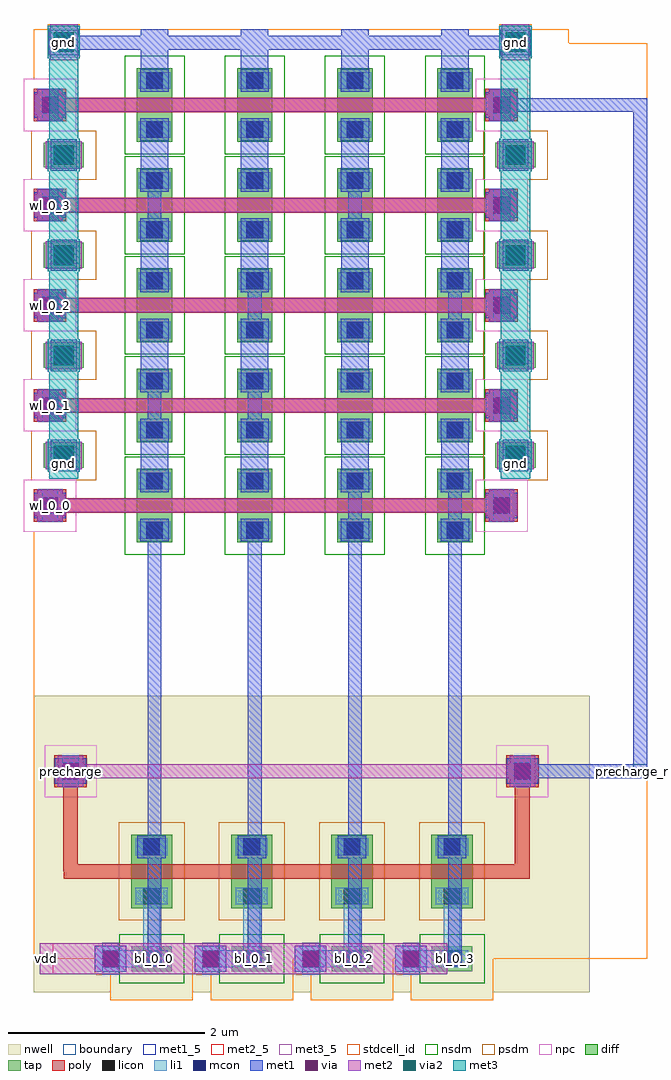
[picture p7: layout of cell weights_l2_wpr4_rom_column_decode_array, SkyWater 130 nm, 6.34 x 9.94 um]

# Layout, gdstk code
from math import pi, radians
import gdstk
lib = gdstk.Library(unit=1e-6, precision=1e-09)
def R(c, l, rs):  # rectangles x0, y0, x1, y1
    for r in rs: c.add(gdstk.rectangle(r[:2], r[2:], *l))
def A(c, l, x, y, w, h, nx, ny, dx, dy):  # array of equal rectangles
    R(c, l, [(x+i*dx, y+j*dy, x+i*dx+w, y+j*dy+h) for i in range(nx) for j in range(ny)])
nwell = (64, 20)
diff = (65, 20)
tap = (65, 44)
poly = (66, 20)
licon = (66, 44)
li1 = (67, 20)
mcon = (67, 44)
met1_5 = (68, 5)
met1 = (68, 20)
via = (68, 44)
met2_5 = (69, 5)
met2 = (69, 20)
via2 = (69, 44)
met3_5 = (70, 5)
met3 = (70, 20)
stdcell_id = (81, 4)
nsdm = (93, 44)
psdm = (94, 20)
npc = (95, 20)
boundary = (235, 4)

weights_l2_wpr4_contact_ = lib.new_cell('weights_l2_wpr4_contact_11')
R(weights_l2_wpr4_contact_, poly, [(0,0,0.33,0.33)])
R(weights_l2_wpr4_contact_, licon, [(0.08,0.08,0.25,0.25)])
R(weights_l2_wpr4_contact_, li1, [(0.08,0,0.25,0.33)])
R(weights_l2_wpr4_contact_, stdcell_id, [(-0.1,-0.1,0.43,0.43)])
R(weights_l2_wpr4_contact_, npc, [(-0.1,-0.1,0.43,0.43)])
R(weights_l2_wpr4_contact_, boundary, [(-0.1,-0.1,0.43,0.43)])

c_weights_l2_wpr4_contact_ = lib.new_cell('weights_l2_wpr4_contact_12')
R(c_weights_l2_wpr4_contact_, li1, [(0.06,0,0.23,0.33)])
R(c_weights_l2_wpr4_contact_, mcon, [(0.06,0.08,0.23,0.25)])
R(c_weights_l2_wpr4_contact_, met1, [(0,0.05,0.29,0.28)])
R(c_weights_l2_wpr4_contact_, stdcell_id, [(0,0,0.29,0.33)])
R(c_weights_l2_wpr4_contact_, boundary, [(0,0,0.29,0.33)])

c_weights_l2_wpr4_contact__ = lib.new_cell('weights_l2_wpr4_contact_13')
R(c_weights_l2_wpr4_contact__, met1, [(0,0.03,0.32,0.29)])
R(c_weights_l2_wpr4_contact__, via, [(0.085,0.085,0.235,0.235)])
R(c_weights_l2_wpr4_contact__, met2, [(0.03,0,0.29,0.32)])
R(c_weights_l2_wpr4_contact__, stdcell_id, [(0,0,0.32,0.32)])
R(c_weights_l2_wpr4_contact__, boundary, [(0,0,0.32,0.32)])

c_weights_l2_wpr4_contact___ = lib.new_cell('weights_l2_wpr4_contact_16')
R(c_weights_l2_wpr4_contact___, tap, [(0,0,0.41,0.25)])
R(c_weights_l2_wpr4_contact___, licon, [(0.12,0.04,0.29,0.21)])
R(c_weights_l2_wpr4_contact___, li1, [(0.04,0.04,0.37,0.21)])
R(c_weights_l2_wpr4_contact___, stdcell_id, [(-0.125,-0.125,0.535,0.375)])
R(c_weights_l2_wpr4_contact___, psdm, [(-0.125,-0.125,0.535,0.375)])
R(c_weights_l2_wpr4_contact___, boundary, [(-0.125,-0.125,0.535,0.375)])

weights_l2_wpr4_rom_poly = lib.new_cell('weights_l2_wpr4_rom_poly_tap_1')
R(weights_l2_wpr4_rom_poly, li1, [(0.22,0.675,0.39,0.845)])
R(weights_l2_wpr4_rom_poly, met1, [(0.005,0.12,0.325,0.38)])
R(weights_l2_wpr4_rom_poly, met2_5, [(0.095,0.18,0.235,0.32)])
R(weights_l2_wpr4_rom_poly, met2, [(0.095,0.18,0.235,0.32)])
R(weights_l2_wpr4_rom_poly, stdcell_id, [(0,0,0.85,1.02)])
R(weights_l2_wpr4_rom_poly, boundary, [(0,0,0.85,1.02)])
weights_l2_wpr4_rom_poly.add(gdstk.Reference(weights_l2_wpr4_contact_, (0,0.085)))
weights_l2_wpr4_rom_poly.add(gdstk.Reference(c_weights_l2_wpr4_contact_, (0.02,0.085)))
weights_l2_wpr4_rom_poly.add(gdstk.Reference(c_weights_l2_wpr4_contact__, (0.005,0.09)))
weights_l2_wpr4_rom_poly.add(gdstk.Reference(c_weights_l2_wpr4_contact___, (0.1,0.635)))
weights_l2_wpr4_rom_poly.add(gdstk.Label('poly_tap', (0.165,0.25), layer=69, texttype=5))
weights_l2_wpr4_rom_poly.add(gdstk.Label('active_tap', (0.305,0.76), layer=67, texttype=5))

c_weights_l2_wpr4_contact____ = lib.new_cell('weights_l2_wpr4_contact_8')
R(c_weights_l2_wpr4_contact____, diff, [(0,0.02,0.25,0.31)])
R(c_weights_l2_wpr4_contact____, licon, [(0.04,0.08,0.21,0.25)])
R(c_weights_l2_wpr4_contact____, li1, [(0.04,0,0.21,0.33)])
R(c_weights_l2_wpr4_contact____, stdcell_id, [(-0.125,-0.105,0.375,0.435)])
R(c_weights_l2_wpr4_contact____, nsdm, [(-0.125,-0.105,0.375,0.435)])
R(c_weights_l2_wpr4_contact____, boundary, [(-0.125,-0.105,0.375,0.435)])

c_weights_l2_wpr4_contact_____ = lib.new_cell('weights_l2_wpr4_contact_9')
R(c_weights_l2_wpr4_contact_____, li1, [(0.03,0,0.2,0.33)])
R(c_weights_l2_wpr4_contact_____, mcon, [(0.03,0.08,0.2,0.25)])
R(c_weights_l2_wpr4_contact_____, met1, [(0,0.02,0.23,0.31)])
R(c_weights_l2_wpr4_contact_____, stdcell_id, [(-0.095,-0.125,0.325,0.455)])
R(c_weights_l2_wpr4_contact_____, nsdm, [(-0.095,-0.125,0.325,0.455)])
R(c_weights_l2_wpr4_contact_____, boundary, [(-0.095,-0.125,0.325,0.455)])

weights_l2_wpr4_nmos_m1_ = lib.new_cell('weights_l2_wpr4_nmos_m1_w0_360_sm1_dm1')
R(weights_l2_wpr4_nmos_m1_, diff, [(0,0,0.75,0.36)])
R(weights_l2_wpr4_nmos_m1_, poly, [(0.3,-0.13,0.45,0.49), (0.3,-0.13,0.45,0.49)])
R(weights_l2_wpr4_nmos_m1_, met1_5, [(0.01,0.035,0.24,0.325), (0.51,0.035,0.74,0.325)])
R(weights_l2_wpr4_nmos_m1_, met1, [(0.01,0.035,0.24,0.325), (0.51,0.035,0.74,0.325)])
R(weights_l2_wpr4_nmos_m1_, stdcell_id, [(-0.125,-0.13,0.875,0.49)])
R(weights_l2_wpr4_nmos_m1_, nsdm, [(-0.125,-0.125,0.875,0.485)])
R(weights_l2_wpr4_nmos_m1_, boundary, [(-0.125,-0.13,0.875,0.49)])
weights_l2_wpr4_nmos_m1_.add(gdstk.Reference(c_weights_l2_wpr4_contact____, (0,0.015)))
weights_l2_wpr4_nmos_m1_.add(gdstk.Reference(c_weights_l2_wpr4_contact_____, (0.01,0.015)))
weights_l2_wpr4_nmos_m1_.add(gdstk.Reference(c_weights_l2_wpr4_contact____, (0.5,0.015)))
weights_l2_wpr4_nmos_m1_.add(gdstk.Reference(c_weights_l2_wpr4_contact_____, (0.51,0.015)))
weights_l2_wpr4_nmos_m1_.add(gdstk.Label('G', (0.375,0.18), layer=66, texttype=5))
weights_l2_wpr4_nmos_m1_.add(gdstk.Label('S', (0.125,0.18), layer=68, texttype=5))
weights_l2_wpr4_nmos_m1_.add(gdstk.Label('D', (0.625,0.18), layer=68, texttype=5))

weights_l2_wpr4_rom_base = lib.new_cell('weights_l2_wpr4_rom_base_one_cell')
R(weights_l2_wpr4_rom_base, poly, [(0,0.175,0.4,0.325), (0.4,0.175,1.02,0.325)])
R(weights_l2_wpr4_rom_base, met1_5, [(0.565,-0.115,0.855,0.115), (0.565,0.385,0.855,0.615)])
R(weights_l2_wpr4_rom_base, met1, [(0.565,-0.115,0.855,0.115), (0.565,0.385,0.855,0.615), (0.57,0.5,0.85,1.02)])
R(weights_l2_wpr4_rom_base, stdcell_id, [(0,0,1.02,1.02)])
R(weights_l2_wpr4_rom_base, boundary, [(0,0,1.02,1.02)])
weights_l2_wpr4_rom_base.add(gdstk.Reference(weights_l2_wpr4_nmos_m1_, (0.89,-0.125), rotation=pi/2))
weights_l2_wpr4_rom_base.add(gdstk.Label('S', (0.71,0), layer=68, texttype=5))
weights_l2_wpr4_rom_base.add(gdstk.Label('D', (0.71,0.5), layer=68, texttype=5))
weights_l2_wpr4_rom_base.add(gdstk.Label('G', (0.71,0.25), layer=66, texttype=5))

c_weights_l2_wpr4_rom_base = lib.new_cell('weights_l2_wpr4_rom_base_zero_cell')
R(c_weights_l2_wpr4_rom_base, poly, [(0,0.175,0.4,0.325), (0.4,0.175,1.02,0.325)])
R(c_weights_l2_wpr4_rom_base, met1_5, [(0.565,-0.115,0.855,0.115), (0.565,0.385,0.855,0.615)])
R(c_weights_l2_wpr4_rom_base, met1, [(0.565,-0.115,0.855,0.115), (0.64,0,0.78,0.5), (0.565,0.385,0.855,0.615), (0.57,0.5,0.85,1.02)])
R(c_weights_l2_wpr4_rom_base, stdcell_id, [(0,0,1.02,1.02)])
R(c_weights_l2_wpr4_rom_base, boundary, [(0,0,1.02,1.02)])
c_weights_l2_wpr4_rom_base.add(gdstk.Reference(weights_l2_wpr4_nmos_m1_, (0.89,-0.125), rotation=pi/2))
c_weights_l2_wpr4_rom_base.add(gdstk.Label('S', (0.71,0), layer=68, texttype=5))
c_weights_l2_wpr4_rom_base.add(gdstk.Label('D', (0.71,0.5), layer=68, texttype=5))
c_weights_l2_wpr4_rom_base.add(gdstk.Label('G', (0.71,0.25), layer=66, texttype=5))

c_weights_l2_wpr4_rom_poly = lib.new_cell('weights_l2_wpr4_rom_poly_tap_2')
R(c_weights_l2_wpr4_rom_poly, met1, [(0.005,0.12,0.325,0.38)])
R(c_weights_l2_wpr4_rom_poly, met2_5, [(0.095,0.18,0.235,0.32)])
R(c_weights_l2_wpr4_rom_poly, met2, [(0.095,0.18,0.235,0.32)])
R(c_weights_l2_wpr4_rom_poly, stdcell_id, [(0,0,0.85,1.02)])
R(c_weights_l2_wpr4_rom_poly, boundary, [(0,0,0.85,1.02)])
c_weights_l2_wpr4_rom_poly.add(gdstk.Reference(weights_l2_wpr4_contact_, (0,0.085)))
c_weights_l2_wpr4_rom_poly.add(gdstk.Reference(c_weights_l2_wpr4_contact_, (0.02,0.085)))
c_weights_l2_wpr4_rom_poly.add(gdstk.Reference(c_weights_l2_wpr4_contact__, (0.005,0.09)))
c_weights_l2_wpr4_rom_poly.add(gdstk.Label('poly_tap', (0.165,0.25), layer=69, texttype=5))

c_weights_l2_wpr4_rom_poly_ = lib.new_cell('weights_l2_wpr4_rom_poly_tap_3')
R(c_weights_l2_wpr4_rom_poly_, met1, [(0.005,0.12,0.325,0.38)])
R(c_weights_l2_wpr4_rom_poly_, met2_5, [(0.095,0.18,0.235,0.32)])
R(c_weights_l2_wpr4_rom_poly_, met2, [(0.095,0.18,0.235,0.32)])
R(c_weights_l2_wpr4_rom_poly_, stdcell_id, [(0,0,0.85,1.02)])
R(c_weights_l2_wpr4_rom_poly_, boundary, [(0,0,0.85,1.02)])
c_weights_l2_wpr4_rom_poly_.add(gdstk.Reference(weights_l2_wpr4_contact_, (0,0.085)))
c_weights_l2_wpr4_rom_poly_.add(gdstk.Reference(c_weights_l2_wpr4_contact_, (0.02,0.085)))
c_weights_l2_wpr4_rom_poly_.add(gdstk.Reference(c_weights_l2_wpr4_contact__, (0.005,0.09)))
c_weights_l2_wpr4_rom_poly_.add(gdstk.Label('poly_tap', (0.165,0.25), layer=69, texttype=5))

c_weights_l2_wpr4_contact______ = lib.new_cell('weights_l2_wpr4_contact_10')
R(c_weights_l2_wpr4_contact______, nwell, [(-0.295,-0.255,0.545,0.585)])
R(c_weights_l2_wpr4_contact______, diff, [(0,0.02,0.25,0.31)])
R(c_weights_l2_wpr4_contact______, licon, [(0.04,0.08,0.21,0.25)])
R(c_weights_l2_wpr4_contact______, li1, [(0.04,0,0.21,0.33)])
R(c_weights_l2_wpr4_contact______, stdcell_id, [(-0.295,-0.255,0.545,0.585)])
R(c_weights_l2_wpr4_contact______, psdm, [(-0.125,-0.105,0.375,0.435)])
R(c_weights_l2_wpr4_contact______, boundary, [(-0.295,-0.255,0.545,0.585)])

c_weights_l2_wpr4_contact_______ = lib.new_cell('weights_l2_wpr4_contact_14')
R(c_weights_l2_wpr4_contact_______, nwell, [(-0.305,-0.255,0.535,0.585)])
R(c_weights_l2_wpr4_contact_______, li1, [(0.03,0,0.2,0.33)])
R(c_weights_l2_wpr4_contact_______, mcon, [(0.03,0.08,0.2,0.25)])
R(c_weights_l2_wpr4_contact_______, met1, [(0,0.02,0.23,0.31)])
R(c_weights_l2_wpr4_contact_______, stdcell_id, [(-0.305,-0.255,0.535,0.585)])
R(c_weights_l2_wpr4_contact_______, psdm, [(-0.095,-0.125,0.325,0.455)])
R(c_weights_l2_wpr4_contact_______, boundary, [(-0.305,-0.255,0.535,0.585)])

weights_l2_wpr4_pmos_m1_ = lib.new_cell('weights_l2_wpr4_pmos_m1_w0_420_sli_dm1')
R(weights_l2_wpr4_pmos_m1_, nwell, [(-0.27,-0.27,1.02,0.69)])
R(weights_l2_wpr4_pmos_m1_, diff, [(0,0,0.75,0.42)])
R(weights_l2_wpr4_pmos_m1_, poly, [(0.3,-0.13,0.45,0.55), (0.3,-0.13,0.45,0.55)])
R(weights_l2_wpr4_pmos_m1_, li1, [(0.04,0.045,0.21,0.375)])
R(weights_l2_wpr4_pmos_m1_, met1_5, [(0.51,0.065,0.74,0.355)])
R(weights_l2_wpr4_pmos_m1_, met1, [(0.51,0.065,0.74,0.355)])
R(weights_l2_wpr4_pmos_m1_, stdcell_id, [(-0.27,-0.27,1.02,0.69)])
R(weights_l2_wpr4_pmos_m1_, psdm, [(-0.125,-0.125,0.875,0.545)])
R(weights_l2_wpr4_pmos_m1_, boundary, [(-0.27,-0.27,1.02,0.69)])
weights_l2_wpr4_pmos_m1_.add(gdstk.Reference(c_weights_l2_wpr4_contact______, (0,0.045)))
weights_l2_wpr4_pmos_m1_.add(gdstk.Reference(c_weights_l2_wpr4_contact______, (0.5,0.045)))
weights_l2_wpr4_pmos_m1_.add(gdstk.Reference(c_weights_l2_wpr4_contact_______, (0.51,0.045)))
weights_l2_wpr4_pmos_m1_.add(gdstk.Label('G', (0.375,0.21), layer=66, texttype=5))
weights_l2_wpr4_pmos_m1_.add(gdstk.Label('S', (0.125,0.21), layer=67, texttype=5))
weights_l2_wpr4_pmos_m1_.add(gdstk.Label('D', (0.625,0.21), layer=68, texttype=5))

c_weights_l2_wpr4_contact________ = lib.new_cell('weights_l2_wpr4_contact_15')
R(c_weights_l2_wpr4_contact________, nwell, [(-0.215,-0.295,0.625,0.545)])
R(c_weights_l2_wpr4_contact________, tap, [(0,0,0.41,0.25)])
R(c_weights_l2_wpr4_contact________, licon, [(0.12,0.04,0.29,0.21)])
R(c_weights_l2_wpr4_contact________, li1, [(0.04,0.04,0.37,0.21)])
R(c_weights_l2_wpr4_contact________, stdcell_id, [(-0.215,-0.295,0.625,0.545)])
R(c_weights_l2_wpr4_contact________, nsdm, [(-0.125,-0.125,0.535,0.375)])
R(c_weights_l2_wpr4_contact________, boundary, [(-0.215,-0.295,0.625,0.545)])

weights_l2_wpr4_precharg = lib.new_cell('weights_l2_wpr4_precharge_cell')
R(weights_l2_wpr4_precharg, nwell, [(0,-0.945,1.02,0.68)])
R(weights_l2_wpr4_precharg, poly, [(0,0.175,0.34,0.325), (0.34,0.175,1.02,0.325)])
R(weights_l2_wpr4_precharg, li1, [(0.175,-0.725,0.345,-0.555), (0.26,-0.725,0.68,-0.555), (0.595,-0.725,0.765,-0.555), (0.595,-0.725,0.765,-0.555), (0.595,-0.64,0.765,0)])
R(weights_l2_wpr4_precharg, met1_5, [(0.535,0.385,0.825,0.615)])
R(weights_l2_wpr4_precharg, met1, [(0.535,0.385,0.825,0.615)])
R(weights_l2_wpr4_precharg, stdcell_id, [(0,0,1.02,1.02)])
R(weights_l2_wpr4_precharg, boundary, [(0,0,1.02,1.02)])
weights_l2_wpr4_precharg.add(gdstk.Reference(weights_l2_wpr4_pmos_m1_, (0.89,-0.125), rotation=pi/2))
weights_l2_wpr4_precharg.add(gdstk.Reference(c_weights_l2_wpr4_contact________, (0.475,-0.765)))
weights_l2_wpr4_precharg.add(gdstk.Label('D', (0.68,0.5), layer=68, texttype=5))
weights_l2_wpr4_precharg.add(gdstk.Label('G', (0.68,0.25), layer=66, texttype=5))
weights_l2_wpr4_precharg.add(gdstk.Label('vdd', (0.26,-0.64), layer=67, texttype=5))

weights_l2_wpr4_rom_prec = lib.new_cell('weights_l2_wpr4_rom_precharge_array_1')
R(weights_l2_wpr4_rom_prec, nwell, [(0,-0.98,5.66,2.04)])
R(weights_l2_wpr4_rom_prec, poly, [(0.305,0.175,5.045,0.325), (4.255,0.175,5.05,0.325), (4.26,0.175,5.05,0.325), (0.3,0.25,0.45,1.2), (4.9,0.25,5.05,1.2)])
A(weights_l2_wpr4_rom_prec, met1_5, 1.13, 0.43, 0.14, 0.14, 4, 1, 1.02, 0)
A(weights_l2_wpr4_rom_prec, met1, 0.62, -0.77, 0.32, 0.26, 4, 1, 1.02, 0)
A(weights_l2_wpr4_rom_prec, met1, 1.13, 0.43, 0.14, 0.14, 4, 1, 1.02, 0)
R(weights_l2_wpr4_rom_prec, met2_5, [(0.06,-0.8,0.2,-0.48), (0.305,1.2,0.445,1.34), (4.905,1.2,5.045,1.34)])
R(weights_l2_wpr4_rom_prec, met2, [(0.06,-0.8,0.2,-0.48), (0.13,-0.8,4.21,-0.48), (0.305,1.2,0.445,1.34), (0.305,1.2,0.445,1.34), (0.305,1.2,5.045,1.34), (4.905,1.2,5.045,1.34), (4.905,1.2,5.045,1.34)])
R(weights_l2_wpr4_rom_prec, stdcell_id, [(0,0,5.66,2.04)])
R(weights_l2_wpr4_rom_prec, boundary, [(0,0,5.66,2.04)])
weights_l2_wpr4_rom_prec.add(gdstk.Reference(c_weights_l2_wpr4_rom_poly_, (0.21,1.02)))
weights_l2_wpr4_rom_prec.add(gdstk.Reference(c_weights_l2_wpr4_rom_poly_, (4.81,1.02)))
weights_l2_wpr4_rom_prec.add(gdstk.Reference(weights_l2_wpr4_precharg, (0.52,0)))
weights_l2_wpr4_rom_prec.add(gdstk.Reference(weights_l2_wpr4_precharg, (1.54,0)))
weights_l2_wpr4_rom_prec.add(gdstk.Reference(weights_l2_wpr4_precharg, (2.56,0)))
weights_l2_wpr4_rom_prec.add(gdstk.Reference(weights_l2_wpr4_precharg, (3.58,0)))
weights_l2_wpr4_rom_prec.add(gdstk.Reference(c_weights_l2_wpr4_contact_, (0.635,-0.805)))
weights_l2_wpr4_rom_prec.add(gdstk.Reference(c_weights_l2_wpr4_contact__, (0.62,-0.8)))
weights_l2_wpr4_rom_prec.add(gdstk.Reference(c_weights_l2_wpr4_contact_, (1.655,-0.805)))
weights_l2_wpr4_rom_prec.add(gdstk.Reference(c_weights_l2_wpr4_contact__, (1.64,-0.8)))
weights_l2_wpr4_rom_prec.add(gdstk.Reference(c_weights_l2_wpr4_contact_, (2.675,-0.805)))
weights_l2_wpr4_rom_prec.add(gdstk.Reference(c_weights_l2_wpr4_contact__, (2.66,-0.8)))
weights_l2_wpr4_rom_prec.add(gdstk.Reference(c_weights_l2_wpr4_contact_, (3.695,-0.805)))
weights_l2_wpr4_rom_prec.add(gdstk.Reference(c_weights_l2_wpr4_contact__, (3.68,-0.8)))
weights_l2_wpr4_rom_prec.add(gdstk.Label('upper right', (5.66,2.04), layer=64, texttype=20))
weights_l2_wpr4_rom_prec.add(gdstk.Label('gate', (0.375,1.27), layer=69, texttype=5))
weights_l2_wpr4_rom_prec.add(gdstk.Label('precharge_r', (4.975,1.27), layer=69, texttype=5))
weights_l2_wpr4_rom_prec.add(gdstk.Label('pre_bl0_out', (1.2,0.5), layer=68, texttype=5))
weights_l2_wpr4_rom_prec.add(gdstk.Label('pre_bl1_out', (2.22,0.5), layer=68, texttype=5))
weights_l2_wpr4_rom_prec.add(gdstk.Label('pre_bl2_out', (3.24,0.5), layer=68, texttype=5))
weights_l2_wpr4_rom_prec.add(gdstk.Label('pre_bl3_out', (4.26,0.5), layer=68, texttype=5))
weights_l2_wpr4_rom_prec.add(gdstk.Label('vdd', (0.13,-0.64), layer=69, texttype=5))

c_weights_l2_wpr4_contact_________ = lib.new_cell('weights_l2_wpr4_contact_17')
R(c_weights_l2_wpr4_contact_________, li1, [(0,0.06,0.33,0.23)])
R(c_weights_l2_wpr4_contact_________, mcon, [(0.08,0.06,0.25,0.23)])
R(c_weights_l2_wpr4_contact_________, met1, [(0.05,0,0.28,0.29)])
R(c_weights_l2_wpr4_contact_________, stdcell_id, [(0,0,0.33,0.29)])
R(c_weights_l2_wpr4_contact_________, boundary, [(0,0,0.33,0.29)])

c_weights_l2_wpr4_contact__________ = lib.new_cell('weights_l2_wpr4_contact_18')
R(c_weights_l2_wpr4_contact__________, met1, [(0.03,0,0.29,0.32)])
R(c_weights_l2_wpr4_contact__________, via, [(0.085,0.085,0.235,0.235)])
R(c_weights_l2_wpr4_contact__________, met2, [(0,0.03,0.32,0.29)])
R(c_weights_l2_wpr4_contact__________, stdcell_id, [(0,0,0.32,0.32)])
R(c_weights_l2_wpr4_contact__________, boundary, [(0,0,0.32,0.32)])

c_weights_l2_wpr4_contact___________ = lib.new_cell('weights_l2_wpr4_contact_21')
R(c_weights_l2_wpr4_contact___________, met2, [(0,0.025,0.37,0.305)])
R(c_weights_l2_wpr4_contact___________, via2, [(0.085,0.065,0.285,0.265)])
R(c_weights_l2_wpr4_contact___________, met3, [(0.02,0,0.35,0.33)])
R(c_weights_l2_wpr4_contact___________, stdcell_id, [(0,0,0.37,0.33)])
R(c_weights_l2_wpr4_contact___________, boundary, [(0,0,0.37,0.33)])

c_weights_l2_wpr4_contact____________ = lib.new_cell('weights_l2_wpr4_contact_22')
R(c_weights_l2_wpr4_contact____________, met2, [(0.025,0,0.305,0.37)])
R(c_weights_l2_wpr4_contact____________, via2, [(0.065,0.085,0.265,0.285)])
R(c_weights_l2_wpr4_contact____________, met3, [(0,0.02,0.33,0.35)])
R(c_weights_l2_wpr4_contact____________, stdcell_id, [(0,0,0.33,0.37)])
R(c_weights_l2_wpr4_contact____________, boundary, [(0,0,0.33,0.37)])

weights_l2_wpr4_rom_colu = lib.new_cell('weights_l2_wpr4_rom_column_decode_array')
A(weights_l2_wpr4_rom_colu, poly, 0.095, 4.54, 4.74, 0.15, 1, 5, 0, 1.02)
A(weights_l2_wpr4_rom_colu, met1_5, 1.16, -0.07, 0.14, 0.14, 4, 1, 1.02, 0)
R(weights_l2_wpr4_rom_colu, met1_5, [(6.105,1.84,6.245,1.98)])
A(weights_l2_wpr4_rom_colu, met1, 1.16, -0.07, 0.14, 0.14, 4, 1, 1.02, 0)
A(weights_l2_wpr4_rom_colu, met1, 1.16, 0.005, 0.14, 2.75, 4, 1, 1.02, 0)
A(weights_l2_wpr4_rom_colu, met1, 1.16, 1.14, 0.14, 3.225, 4, 1, 1.02, 0)
A(weights_l2_wpr4_rom_colu, met1, 0.04, 4.45, 0.255, 0.33, 1, 5, 0, 1.02)
A(weights_l2_wpr4_rom_colu, met1, 4.64, 4.45, 0.255, 0.33, 1, 5, 0, 1.02)
A(weights_l2_wpr4_rom_colu, met1, 0.175, 4.965, 0.26, 0.32, 1, 4, 0, 1.02)
A(weights_l2_wpr4_rom_colu, met1, 4.775, 4.965, 0.26, 0.32, 1, 4, 0, 1.02)
R(weights_l2_wpr4_rom_colu, met1, [(4.975,1.84,6.175,1.98), (6.105,1.84,6.245,1.98), (6.105,1.84,6.245,1.98), (6.105,1.91,6.245,8.695), (4.765,8.625,5.965,8.765), (5.965,8.625,6.175,8.765), (6.105,8.625,6.245,8.765), (0.305,9.26,1.16,9.4), (1.09,9.26,4.43,9.4), (4.36,9.26,4.905,9.4)])
A(weights_l2_wpr4_rom_colu, met2_5, 0.095, 4.545, 0.14, 0.14, 1, 4, 0, 1.02)
R(weights_l2_wpr4_rom_colu, met2_5, [(0.06,-0.16,0.2,0.16), (0.305,1.84,0.445,1.98)])
A(weights_l2_wpr4_rom_colu, met2, 0.005, 4.51, 0.32, 0.215, 1, 5, 0, 1.02)
A(weights_l2_wpr4_rom_colu, met2, 4.605, 4.51, 0.32, 0.215, 1, 5, 0, 1.02)
A(weights_l2_wpr4_rom_colu, met2, 0.095, 4.545, 4.74, 0.14, 1, 5, 0, 1.02)
A(weights_l2_wpr4_rom_colu, met2, 4.695, 4.545, 0.14, 0.14, 1, 5, 0, 1.02)
A(weights_l2_wpr4_rom_colu, met2, 0.12, 5.03, 0.37, 0.185, 1, 4, 0, 1.02)
A(weights_l2_wpr4_rom_colu, met2, 4.72, 5.03, 0.37, 0.185, 1, 4, 0, 1.02)
R(weights_l2_wpr4_rom_colu, met2, [(0.06,-0.16,0.2,0.16), (0.305,1.84,0.445,1.98), (0.095,4.545,0.235,4.685), (0.095,4.545,0.235,4.685), (0.095,5.565,0.235,5.705), (0.095,5.565,0.235,5.705), (0.095,6.585,0.235,6.725), (0.095,6.585,0.235,6.725), (0.095,7.605,0.235,7.745), (0.095,7.605,0.235,7.745), (0.095,8.625,0.235,8.765), (0.165,9.21,0.445,9.455), (4.765,9.21,5.045,9.455)])
R(weights_l2_wpr4_rom_colu, met3_5, [(0.155,4.89,0.455,5.19), (4.755,4.89,5.055,5.19), (0.155,9.18,0.455,9.48), (4.755,9.18,5.055,9.48)])
R(weights_l2_wpr4_rom_colu, met3, [(0.155,4.89,0.455,9.48), (0.155,4.89,0.455,5.19), (4.755,4.89,5.055,9.48), (4.755,4.89,5.055,5.19), (0.155,9.18,0.455,9.48), (4.755,9.18,5.055,9.48)])
R(weights_l2_wpr4_rom_colu, stdcell_id, [(0,0,6.245,9.325)])
R(weights_l2_wpr4_rom_colu, boundary, [(0,0,6.245,9.325)])
weights_l2_wpr4_rom_colu.add(gdstk.Reference(weights_l2_wpr4_rom_poly, (0,4.365)))
weights_l2_wpr4_rom_colu.add(gdstk.Reference(weights_l2_wpr4_rom_base, (0.52,4.365)))
weights_l2_wpr4_rom_colu.add(gdstk.Reference(weights_l2_wpr4_rom_base, (1.54,4.365)))
weights_l2_wpr4_rom_colu.add(gdstk.Reference(c_weights_l2_wpr4_rom_base, (2.56,4.365)))
weights_l2_wpr4_rom_colu.add(gdstk.Reference(c_weights_l2_wpr4_rom_base, (3.58,4.365)))
weights_l2_wpr4_rom_colu.add(gdstk.Reference(weights_l2_wpr4_rom_poly, (4.6,4.365)))
weights_l2_wpr4_rom_colu.add(gdstk.Reference(weights_l2_wpr4_rom_poly, (0,5.385)))
weights_l2_wpr4_rom_colu.add(gdstk.Reference(c_weights_l2_wpr4_rom_base, (0.52,5.385)))
weights_l2_wpr4_rom_colu.add(gdstk.Reference(c_weights_l2_wpr4_rom_base, (1.54,5.385)))
weights_l2_wpr4_rom_colu.add(gdstk.Reference(weights_l2_wpr4_rom_base, (2.56,5.385)))
weights_l2_wpr4_rom_colu.add(gdstk.Reference(weights_l2_wpr4_rom_base, (3.58,5.385)))
weights_l2_wpr4_rom_colu.add(gdstk.Reference(weights_l2_wpr4_rom_poly, (4.6,5.385)))
weights_l2_wpr4_rom_colu.add(gdstk.Reference(weights_l2_wpr4_rom_poly, (0,6.405)))
weights_l2_wpr4_rom_colu.add(gdstk.Reference(weights_l2_wpr4_rom_base, (0.52,6.405)))
weights_l2_wpr4_rom_colu.add(gdstk.Reference(c_weights_l2_wpr4_rom_base, (1.54,6.405)))
weights_l2_wpr4_rom_colu.add(gdstk.Reference(weights_l2_wpr4_rom_base, (2.56,6.405)))
weights_l2_wpr4_rom_colu.add(gdstk.Reference(c_weights_l2_wpr4_rom_base, (3.58,6.405)))
weights_l2_wpr4_rom_colu.add(gdstk.Reference(weights_l2_wpr4_rom_poly, (4.6,6.405)))
weights_l2_wpr4_rom_colu.add(gdstk.Reference(weights_l2_wpr4_rom_poly, (0,7.425)))
weights_l2_wpr4_rom_colu.add(gdstk.Reference(c_weights_l2_wpr4_rom_base, (0.52,7.425)))
weights_l2_wpr4_rom_colu.add(gdstk.Reference(weights_l2_wpr4_rom_base, (1.54,7.425)))
weights_l2_wpr4_rom_colu.add(gdstk.Reference(c_weights_l2_wpr4_rom_base, (2.56,7.425)))
weights_l2_wpr4_rom_colu.add(gdstk.Reference(weights_l2_wpr4_rom_base, (3.58,7.425)))
weights_l2_wpr4_rom_colu.add(gdstk.Reference(weights_l2_wpr4_rom_poly, (4.6,7.425)))
weights_l2_wpr4_rom_colu.add(gdstk.Reference(c_weights_l2_wpr4_rom_poly, (0,8.445)))
weights_l2_wpr4_rom_colu.add(gdstk.Reference(weights_l2_wpr4_rom_base, (0.52,8.445)))
weights_l2_wpr4_rom_colu.add(gdstk.Reference(weights_l2_wpr4_rom_base, (1.54,8.445)))
weights_l2_wpr4_rom_colu.add(gdstk.Reference(weights_l2_wpr4_rom_base, (2.56,8.445)))
weights_l2_wpr4_rom_colu.add(gdstk.Reference(weights_l2_wpr4_rom_base, (3.58,8.445)))
weights_l2_wpr4_rom_colu.add(gdstk.Reference(c_weights_l2_wpr4_rom_poly, (4.6,8.445)))
weights_l2_wpr4_rom_colu.add(gdstk.Reference(weights_l2_wpr4_rom_prec, (0,0.64)))
weights_l2_wpr4_rom_colu.add(gdstk.Reference(c_weights_l2_wpr4_contact_________, (0.14,4.98)))
weights_l2_wpr4_rom_colu.add(gdstk.Reference(c_weights_l2_wpr4_contact__________, (0.145,4.965)))
weights_l2_wpr4_rom_colu.add(gdstk.Reference(c_weights_l2_wpr4_contact___________, (0.12,4.96)))
weights_l2_wpr4_rom_colu.add(gdstk.Reference(c_weights_l2_wpr4_contact_________, (0.14,6)))
weights_l2_wpr4_rom_colu.add(gdstk.Reference(c_weights_l2_wpr4_contact__________, (0.145,5.985)))
weights_l2_wpr4_rom_colu.add(gdstk.Reference(c_weights_l2_wpr4_contact___________, (0.12,5.98)))
weights_l2_wpr4_rom_colu.add(gdstk.Reference(c_weights_l2_wpr4_contact_________, (0.14,7.02)))
weights_l2_wpr4_rom_colu.add(gdstk.Reference(c_weights_l2_wpr4_contact__________, (0.145,7.005)))
weights_l2_wpr4_rom_colu.add(gdstk.Reference(c_weights_l2_wpr4_contact___________, (0.12,7)))
weights_l2_wpr4_rom_colu.add(gdstk.Reference(c_weights_l2_wpr4_contact_________, (0.14,8.04)))
weights_l2_wpr4_rom_colu.add(gdstk.Reference(c_weights_l2_wpr4_contact__________, (0.145,8.025)))
weights_l2_wpr4_rom_colu.add(gdstk.Reference(c_weights_l2_wpr4_contact___________, (0.12,8.02)))
weights_l2_wpr4_rom_colu.add(gdstk.Reference(c_weights_l2_wpr4_contact_________, (4.74,4.98)))
weights_l2_wpr4_rom_colu.add(gdstk.Reference(c_weights_l2_wpr4_contact__________, (4.745,4.965)))
weights_l2_wpr4_rom_colu.add(gdstk.Reference(c_weights_l2_wpr4_contact___________, (4.72,4.96)))
weights_l2_wpr4_rom_colu.add(gdstk.Reference(c_weights_l2_wpr4_contact_________, (4.74,6)))
weights_l2_wpr4_rom_colu.add(gdstk.Reference(c_weights_l2_wpr4_contact__________, (4.745,5.985)))
weights_l2_wpr4_rom_colu.add(gdstk.Reference(c_weights_l2_wpr4_contact___________, (4.72,5.98)))
weights_l2_wpr4_rom_colu.add(gdstk.Reference(c_weights_l2_wpr4_contact_________, (4.74,7.02)))
weights_l2_wpr4_rom_colu.add(gdstk.Reference(c_weights_l2_wpr4_contact__________, (4.745,7.005)))
weights_l2_wpr4_rom_colu.add(gdstk.Reference(c_weights_l2_wpr4_contact___________, (4.72,7)))
weights_l2_wpr4_rom_colu.add(gdstk.Reference(c_weights_l2_wpr4_contact_________, (4.74,8.04)))
weights_l2_wpr4_rom_colu.add(gdstk.Reference(c_weights_l2_wpr4_contact__________, (4.745,8.025)))
weights_l2_wpr4_rom_colu.add(gdstk.Reference(c_weights_l2_wpr4_contact___________, (4.72,8.02)))
weights_l2_wpr4_rom_colu.add(gdstk.Reference(c_weights_l2_wpr4_contact__, (0.145,9.17)))
weights_l2_wpr4_rom_colu.add(gdstk.Reference(c_weights_l2_wpr4_contact____________, (0.14,9.15)))
weights_l2_wpr4_rom_colu.add(gdstk.Reference(c_weights_l2_wpr4_contact__, (4.745,9.17)))
weights_l2_wpr4_rom_colu.add(gdstk.Reference(c_weights_l2_wpr4_contact____________, (4.74,9.15)))
weights_l2_wpr4_rom_colu.add(gdstk.Reference(c_weights_l2_wpr4_contact__, (0.005,4.455)))
weights_l2_wpr4_rom_colu.add(gdstk.Reference(c_weights_l2_wpr4_contact_, (0.02,4.45)))
weights_l2_wpr4_rom_colu.add(gdstk.Reference(weights_l2_wpr4_contact_, (0,4.45)))
weights_l2_wpr4_rom_colu.add(gdstk.Reference(c_weights_l2_wpr4_contact__, (4.605,4.455)))
weights_l2_wpr4_rom_colu.add(gdstk.Reference(c_weights_l2_wpr4_contact_, (4.62,4.45)))
weights_l2_wpr4_rom_colu.add(gdstk.Reference(weights_l2_wpr4_contact_, (4.6,4.45)))
weights_l2_wpr4_rom_colu.add(gdstk.Reference(c_weights_l2_wpr4_contact__, (0.005,5.475)))
weights_l2_wpr4_rom_colu.add(gdstk.Reference(c_weights_l2_wpr4_contact_, (0.02,5.47)))
weights_l2_wpr4_rom_colu.add(gdstk.Reference(weights_l2_wpr4_contact_, (0,5.47)))
weights_l2_wpr4_rom_colu.add(gdstk.Reference(c_weights_l2_wpr4_contact__, (4.605,5.475)))
weights_l2_wpr4_rom_colu.add(gdstk.Reference(c_weights_l2_wpr4_contact_, (4.62,5.47)))
weights_l2_wpr4_rom_colu.add(gdstk.Reference(weights_l2_wpr4_contact_, (4.6,5.47)))
weights_l2_wpr4_rom_colu.add(gdstk.Reference(c_weights_l2_wpr4_contact__, (0.005,6.495)))
weights_l2_wpr4_rom_colu.add(gdstk.Reference(c_weights_l2_wpr4_contact_, (0.02,6.49)))
weights_l2_wpr4_rom_colu.add(gdstk.Reference(weights_l2_wpr4_contact_, (0,6.49)))
weights_l2_wpr4_rom_colu.add(gdstk.Reference(c_weights_l2_wpr4_contact__, (4.605,6.495)))
weights_l2_wpr4_rom_colu.add(gdstk.Reference(c_weights_l2_wpr4_contact_, (4.62,6.49)))
weights_l2_wpr4_rom_colu.add(gdstk.Reference(weights_l2_wpr4_contact_, (4.6,6.49)))
weights_l2_wpr4_rom_colu.add(gdstk.Reference(c_weights_l2_wpr4_contact__, (0.005,7.515)))
weights_l2_wpr4_rom_colu.add(gdstk.Reference(c_weights_l2_wpr4_contact_, (0.02,7.51)))
weights_l2_wpr4_rom_colu.add(gdstk.Reference(weights_l2_wpr4_contact_, (0,7.51)))
weights_l2_wpr4_rom_colu.add(gdstk.Reference(c_weights_l2_wpr4_contact__, (4.605,7.515)))
weights_l2_wpr4_rom_colu.add(gdstk.Reference(c_weights_l2_wpr4_contact_, (4.62,7.51)))
weights_l2_wpr4_rom_colu.add(gdstk.Reference(weights_l2_wpr4_contact_, (4.6,7.51)))
weights_l2_wpr4_rom_colu.add(gdstk.Reference(c_weights_l2_wpr4_contact__, (0.005,8.535)))
weights_l2_wpr4_rom_colu.add(gdstk.Reference(c_weights_l2_wpr4_contact_, (0.02,8.53)))
weights_l2_wpr4_rom_colu.add(gdstk.Reference(weights_l2_wpr4_contact_, (0,8.53)))
weights_l2_wpr4_rom_colu.add(gdstk.Reference(c_weights_l2_wpr4_contact__, (4.605,8.535)))
weights_l2_wpr4_rom_colu.add(gdstk.Reference(c_weights_l2_wpr4_contact_, (4.62,8.53)))
weights_l2_wpr4_rom_colu.add(gdstk.Reference(weights_l2_wpr4_contact_, (4.6,8.53)))
weights_l2_wpr4_rom_colu.add(gdstk.Label('precharge', (0.375,1.91), layer=69, texttype=5))
weights_l2_wpr4_rom_colu.add(gdstk.Label('wl_0_0', (0.165,4.615), layer=69, texttype=5))
weights_l2_wpr4_rom_colu.add(gdstk.Label('wl_0_1', (0.165,5.635), layer=69, texttype=5))
weights_l2_wpr4_rom_colu.add(gdstk.Label('wl_0_2', (0.165,6.655), layer=69, texttype=5))
weights_l2_wpr4_rom_colu.add(gdstk.Label('wl_0_3', (0.165,7.675), layer=69, texttype=5))
weights_l2_wpr4_rom_colu.add(gdstk.Label('bl_0_0', (1.23,0), layer=68, texttype=5))
weights_l2_wpr4_rom_colu.add(gdstk.Label('bl_0_1', (2.25,0), layer=68, texttype=5))
weights_l2_wpr4_rom_colu.add(gdstk.Label('bl_0_2', (3.27,0), layer=68, texttype=5))
weights_l2_wpr4_rom_colu.add(gdstk.Label('bl_0_3', (4.29,0), layer=68, texttype=5))
weights_l2_wpr4_rom_colu.add(gdstk.Label('precharge_r', (6.175,1.91), layer=68, texttype=5))
weights_l2_wpr4_rom_colu.add(gdstk.Label('gnd', (4.905,5.04), layer=70, texttype=5))
weights_l2_wpr4_rom_colu.add(gdstk.Label('gnd', (0.305,5.04), layer=70, texttype=5))
weights_l2_wpr4_rom_colu.add(gdstk.Label('gnd', (0.305,9.33), layer=70, texttype=5))
weights_l2_wpr4_rom_colu.add(gdstk.Label('gnd', (4.905,9.33), layer=70, texttype=5))
weights_l2_wpr4_rom_colu.add(gdstk.Label('vdd', (0.13,0), layer=69, texttype=5))

lib.write_gds('weights_l2_wpr4_rom_column_decode_array.gds')
